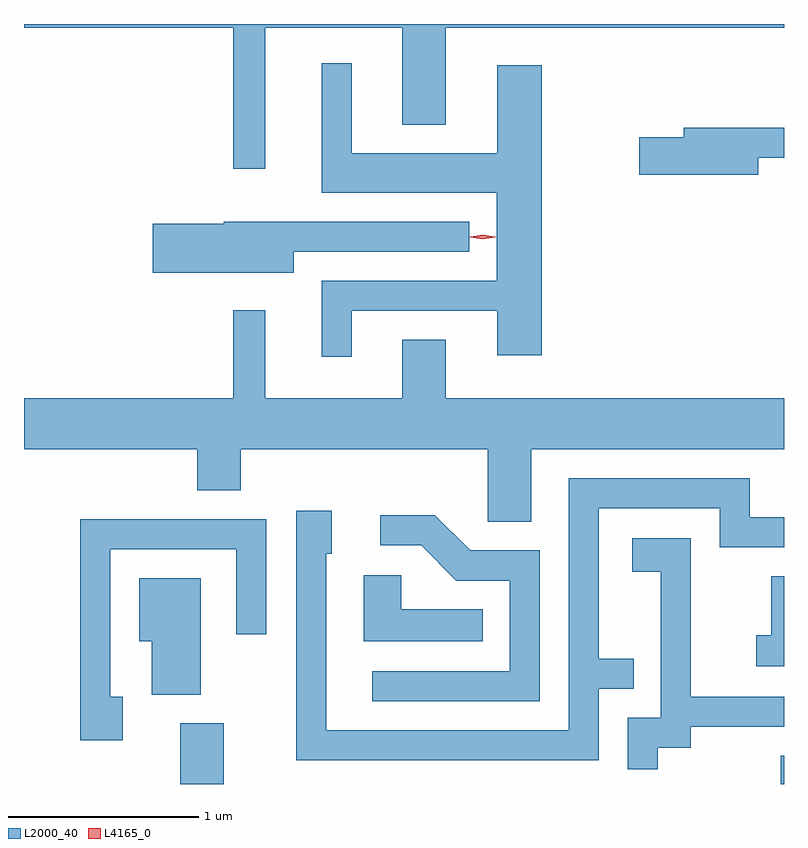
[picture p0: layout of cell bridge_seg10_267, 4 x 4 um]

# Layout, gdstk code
import gdstk
lib = gdstk.Library(unit=1e-6, precision=1e-09)
def R(c, l, rs):  # rectangles x0, y0, x1, y1
    for r in rs: c.add(gdstk.rectangle(r[:2], r[2:], *l))
def P(c, l, *ps):  # polygons
    for p in ps: c.add(gdstk.Polygon(p, *l))
L2000_40 = (2000, 40)
L4165_0 = (4165, 0)

bridge_seg10_267 = lib.new_cell('bridge_seg10_267')
R(bridge_seg10_267, L2000_40, [(1434.961,2154.335,1435.189,2154.654), (1438.121,2154.335,1438.139,2154.484)])
P(bridge_seg10_267, L2000_40, [(1435.409,2158.316),(1436.131,2158.316),(1436.131,2157.806),(1436.359,2157.806),(1436.359,2158.316),(1438.139,2158.316),(1438.139,2158.335),(1434.139,2158.335),(1434.139,2158.316),(1435.241,2158.316),(1435.241,2157.573),(1435.409,2157.573)],
  [(1435.864,2156.826),(1436.631,2156.826),(1436.631,2156.591),(1436.864,2156.591),(1436.864,2158.119),(1436.631,2158.119),(1436.631,2157.654),(1435.864,2157.654),(1435.864,2158.128),(1435.706,2158.128),(1435.706,2157.446),(1436.626,2157.446),(1436.626,2156.984),(1435.706,2156.984),(1435.706,2156.583),(1435.864,2156.583)],
  [(1438.004,2157.631),(1438.139,2157.631),(1438.139,2157.789),(1437.611,2157.789),(1437.611,2157.739),(1437.376,2157.739),(1437.376,2157.541),(1438.004,2157.541)],
  [(1435.559,2157.136),(1436.483,2157.136),(1436.483,2157.294),(1435.19,2157.294),(1435.19,2157.284),(1434.816,2157.284),(1434.816,2157.026),(1435.559,2157.026)],
  [(1436.809,2156.096),(1438.139,2156.096),(1438.139,2156.364),(1436.359,2156.364),(1436.359,2156.674),(1436.131,2156.674),(1436.131,2156.364),(1435.409,2156.364),(1435.409,2156.828),(1435.241,2156.828),(1435.241,2156.364),(1434.139,2156.364),(1434.139,2156.096),(1435.051,2156.096),(1435.051,2155.881),(1435.279,2155.881),(1435.279,2156.096),(1436.581,2156.096),(1436.581,2155.716),(1436.809,2155.716)],
  [(1437.164,2154.836),(1437.348,2154.836),(1437.348,2154.994),(1437.164,2154.994),(1437.164,2155.786),(1437.801,2155.786),(1437.801,2155.581),(1438.139,2155.581),(1438.139,2155.739),(1437.959,2155.739),(1437.959,2155.944),(1437.006,2155.944),(1437.006,2154.619),(1435.729,2154.619),(1435.729,2155.546),(1435.759,2155.546),(1435.759,2155.774),(1435.571,2155.774),(1435.571,2154.461),(1437.164,2154.461)],
  [(1436.854,2155.564),(1436.487,2155.564),(1436.302,2155.749),(1436.013,2155.749),(1436.013,2155.591),(1436.229,2155.591),(1436.414,2155.406),(1436.696,2155.406),(1436.696,2154.929),(1435.973,2154.929),(1435.973,2154.771),(1436.854,2154.771)],
  [(1434.659,2154.794),(1434.594,2154.794),(1434.594,2155.571),(1435.256,2155.571),(1435.256,2155.123),(1435.414,2155.123),(1435.414,2155.729),(1434.436,2155.729),(1434.436,2154.566),(1434.659,2154.566)],
  [(1437.474,2154.526),(1437.649,2154.526),(1437.649,2154.636),(1438.139,2154.636),(1438.139,2154.794),(1437.649,2154.794),(1437.649,2155.629),(1437.341,2155.629),(1437.341,2155.451),(1437.491,2155.451),(1437.491,2154.684),(1437.316,2154.684),(1437.316,2154.413),(1437.474,2154.413)],
  [(1436.553,2155.254),(1436.124,2155.254),(1436.124,2155.434),(1435.926,2155.434),(1435.926,2155.086),(1436.553,2155.086)],
  [(1438.139,2155.429),(1438.071,2155.429),(1438.071,2155.119),(1437.993,2155.119),(1437.993,2154.956),(1438.139,2154.956)],
  [(1435.069,2155.419),(1434.746,2155.419),(1434.746,2155.086),(1434.811,2155.086),(1434.811,2154.806),(1435.069,2154.806)])
P(bridge_seg10_267, L4165_0, [(1436.553,2157.202),(1436.484,2157.212),(1436.484,2157.212),(1436.484,2157.213),(1436.553,2157.222),(1436.622,2157.213),(1436.623,2157.212),(1436.622,2157.212)],
  [(1436.553,2157.205),(1436.487,2157.214),(1436.487,2157.215),(1436.487,2157.216),(1436.553,2157.225),(1436.619,2157.216),(1436.62,2157.215),(1436.619,2157.214)])

lib.write_gds('bridge_seg10_267.gds')
